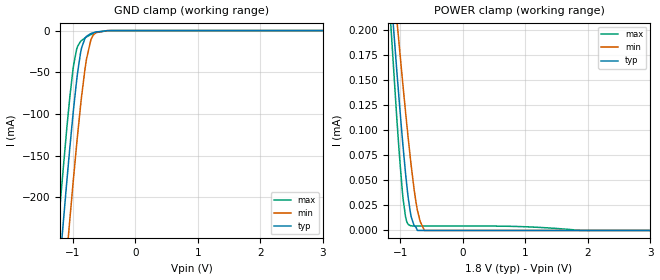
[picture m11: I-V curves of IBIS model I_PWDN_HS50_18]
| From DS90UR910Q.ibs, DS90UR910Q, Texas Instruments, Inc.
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|   Model
[Model]   I_PWDN_HS50_18
Model_type   Input
Vinl = 0.63
Vinh = 1.17
|   typ   min   max
C_comp   0.431pF   0.414pF   0.452pF
[Voltage Range]   1.8   1.71   1.89
[Temperature Range]   25   105   -40
[Power Clamp Reference]   1.8   1.71   1.89
[GND Clamp Reference]   0   0   0
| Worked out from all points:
|   GND clamp passes 1 mA (typ) near -0.55 V on its own axis
[GND Clamp]
|   Voltage   I(typ)   I(min)   I(max)
-1.8V     -842.5mA   -930mA     -777.7mA
-1.238V   -309.8mA   -399mA     -243.2mA
-1.179V   -256.1mA   -344.9mA   -189.9mA
-1.093V   -180.3mA   -267.9mA   -116.3mA
-1.044V   -139.7mA   -225.7mA   -78.83mA
-984.6mV  -93.21mA   -175.7mA   -41.22mA
-936mV    -59.6mA    -136.6mA   -22.36mA
-876.6mV  -28.03mA   -92.34mA   -13.37mA
-779.4mV  -6.893mA   -34.39mA   -7.658mA
-709.2mV  -3.553mA   -11.17mA   -4.803mA
-450mV    -98.19uA   -78.01uA   -178.4uA
3.595V    0A         0A         0A
[POWER Clamp]
|   Voltage   I(typ)   I(min)   I(max)
-1.8V     806.7uA    756.4uA    902.8uA
-1.157V   244.4uA    283.9uA    213.2uA
-1.055V   160.4uA    212uA      113uA
-1.012V   126.6uA    182.5uA    74.7uA
-968.4mV  94.28uA    153.6uA    41.44uA
-914.4mV  57.39uA    118.6uA    13.72uA
-871.2mV  32.63uA    92.01uA    6.051uA
-828mV    14.88uA    67.09uA    4.666uA
-725.4mV  0A         20.48uA    4.467uA
-682.2mV  0A         9.432uA    4.465uA
-612mV    0A         0A         4.462uA
3.595V    0A         0A         0A
